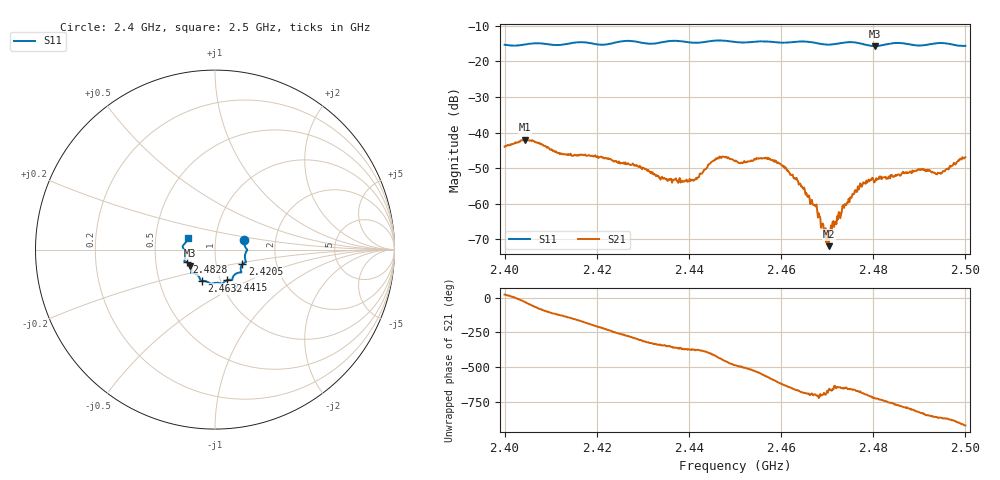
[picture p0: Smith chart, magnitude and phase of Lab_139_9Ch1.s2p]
# Hz S RI R 50
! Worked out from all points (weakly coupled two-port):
!   601 points, 2.4 GHz to 2.5 GHz, reference 50 ohm
!   highest |S21| = -42.01 dB at 2.4045 GHz (marker M1); lowest = -72.0 dB at 2.4703 GHz (marker M2)
!   lowest |S11| = -15.7 dB at 2.4803 GHz (marker M3), VSWR 1.39, Z = 37.3 - j6.84 ohm
!   |S11| at or under -10 dB: start of sweep to end of sweep
!   S12 and S22 are empty: the file has one direction only
!   S11 on the Smith chart (normalised r, x): 2.4 GHz: 1.38, +0.15; 2.4205 GHz: 1.34, -0.22; 2.4415 GHz: 1.07, -0.38; 2.4632 GHz: 0.82, -0.29; 2.4828 GHz: 0.72, -0.10; 2.5 GHz: 0.73, +0.10
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2.4e9  0.1637 0.0515  0.00589 0.00228  0 0  0 0
2.4045e9  0.1732 0.00686  0.00663 -0.00435  0 0  0 0
2.411833e9  0.1667 -0.0351  -0.00302 -0.00421  0 0  0 0
2.416667e9  0.173 -0.0699  -0.00478 -0.000788  0 0  0 0
2.4205e9  0.1521 -0.0815  -0.00381 0.00232  0 0  0 0
2.428333e9  0.1425 -0.1272  0.00136 0.00319  0 0  0 0
2.433333e9  0.1004 -0.1515  0.00231 0.000881  0 0  0 0
2.4415e9  0.0656 -0.1707  0.00221 -0.00058  0 0  0 0
2.446333e9  0.0408 -0.193  0.00154 -0.00417  0 0  0 0
2.45e9  0.0245 -0.1864  -0.00225 -0.00325  0 0  0 0
2.457167e9  -0.027 -0.1885  -0.00377 0.0023  0 0  0 0
2.463167e9  -0.0733 -0.1739  0.00122 0.00183  0 0  0 0
2.466667e9  -0.0822 -0.167  0.000952 0.00061  0 0  0 0
2.469833e9  -0.0976 -0.1424  0.000238 0.000155  0 0  0 0
2.470333e9  -0.1019 -0.1387  0.000125 0.000219  0 0  0 0
2.476167e9  -0.1333 -0.1273  0.000885 0.00127  0 0  0 0
2.480333e9  -0.1378 -0.0891  0.00202 -2.13e-05  0 0  0 0
2.482833e9  -0.1586 -0.07  0.00203 -0.000932  0 0  0 0
2.483333e9  -0.1625 -0.068  0.00202 -0.00124  0 0  0 0
2.490167e9  -0.1662 -0.0202  -0.000801 -0.00286  0 0  0 0
2.494333e9  -0.1809 0.0166  -0.00207 -0.0017  0 0  0 0
2.5e9  -0.1527 0.0645  -0.00433 0.00128  0 0  0 0
